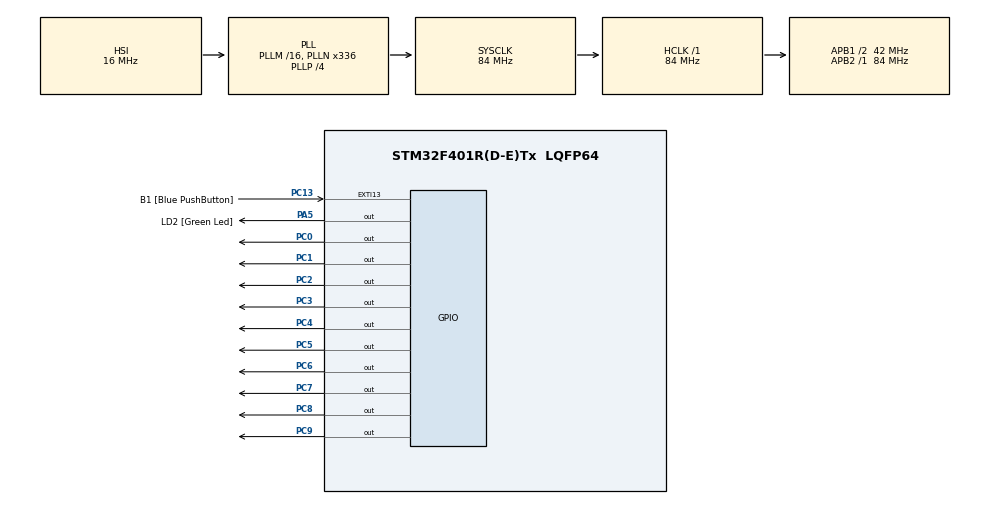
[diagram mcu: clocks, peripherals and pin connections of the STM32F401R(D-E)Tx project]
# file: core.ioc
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Mcu.Family=STM32F4
Mcu.Name=STM32F401R(D-E)Tx
Mcu.Package=LQFP64
NVIC.PriorityGroup=NVIC_PRIORITYGROUP_4
PA13.GPIO_Label=TMS
PA13.Mode=Trace_Asynchronous_SW
PA13.Signal=SYS_JTMS-SWDIO
PA14.GPIO_Label=TCK
PA14.Mode=Trace_Asynchronous_SW
PA14.Signal=SYS_JTCK-SWCLK
PA5.GPIO_Label=LD2 [Green Led]
PA5.GPIO_Mode=GPIO_MODE_OUTPUT_PP
PA5.GPIO_PuPd=GPIO_NOPULL
PA5.GPIO_Speed=GPIO_SPEED_FREQ_LOW
PA5.Signal=GPIO_Output
PB3.GPIO_Label=SWO
PB3.Mode=Trace_Asynchronous_SW
PB3.Signal=SYS_JTDO-SWO
PC0.Signal=GPIO_Output
PC1.Signal=GPIO_Output
PC13-ANTI_TAMP.GPIO_Label=B1 [Blue PushButton]
PC13-ANTI_TAMP.GPIO_ModeDefaultEXTI=GPIO_MODE_IT_FALLING
PC13-ANTI_TAMP.GPIO_PuPd=GPIO_NOPULL
PC13-ANTI_TAMP.Signal=GPXTI13
PC14-OSC32_IN.Mode=LSE-External-Oscillator
PC14-OSC32_IN.Signal=RCC_OSC32_IN
PC15-OSC32_OUT.Mode=LSE-External-Oscillator
PC15-OSC32_OUT.Signal=RCC_OSC32_OUT
PC2.Signal=GPIO_Output
PC3.Signal=GPIO_Output
PC4.Signal=GPIO_Output
PC5.Signal=GPIO_Output
PC6.Signal=GPIO_Output
PC7.Signal=GPIO_Output
PC8.Signal=GPIO_Output
PC9.Signal=GPIO_Output
PH0\ -\ OSC_IN.Mode=HSE-External-Clock-Source
PH0\ -\ OSC_IN.Signal=RCC_OSC_IN
PH1\ -\ OSC_OUT.Mode=HSE-External-Clock-Source
PH1\ -\ OSC_OUT.Signal=RCC_OSC_OUT
ProjectManager.HeapSize=0x200
ProjectManager.StackSize=0x400
ProjectManager.TargetToolchain=MDK-ARM V5.32
RCC.48MHZClocksFreq_Value=48000000
RCC.AHBFreq_Value=84000000
RCC.APB1CLKDivider=RCC_HCLK_DIV2
RCC.APB1Freq_Value=42000000
RCC.APB1TimFreq_Value=84000000
RCC.APB2Freq_Value=84000000
RCC.APB2TimFreq_Value=84000000
RCC.CortexFreq_Value=84000000
RCC.HCLKFreq_Value=84000000
RCC.HSE_VALUE=8000000
RCC.HSI_VALUE=16000000
RCC.PLLN=336
RCC.PLLP=RCC_PLLP_DIV4
RCC.PLLQ=7
RCC.SYSCLKFreq_VALUE=84000000
RCC.SYSCLKSource=RCC_SYSCLKSOURCE_PLLCLK
RCC.VCOOutputFreq_Value=336000000
board=NUCLEO-F401RE

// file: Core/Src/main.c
/* USER CODE BEGIN Header */
/**
  ******************************************************************************
  * @file           : main.c
  * @brief          : Main program body
  ******************************************************************************
  * @attention
  *
  * Copyright (c) 2026 STMicroelectronics.
  * All rights reserved.
  *
  * This software is licensed under terms that can be found in the LICENSE file
  * in the root directory of this software component.
  * If no LICENSE file comes with this software, it is provided AS-IS.
  *
  ******************************************************************************
  */
/* USER CODE END Header */
#include "main.h"

/* USER CODE BEGIN PV */
typedef enum{
	left = 0,
	right = 1,
} direction;

typedef enum{
	data = 0,
	instruction = 1,
}mode;
/* USER CODE END PV */

void SystemClock_Config(void);
static void MX_GPIO_Init(void);
/* USER CODE BEGIN PFP */
//LCD main functions
void clearScreen(void);
void turnScreenOn(void);
void showData(void);
void putData(uint8_t);
void LCD_init(void);
void writeComOrData(uint8_t);
/* USER CODE END PFP */

int main(void)
{

  /* MCU Configuration--------------------------------------------------------*/

  /* Reset of all peripherals, Initializes the Flash interface and the Systick. */
  HAL_Init();

  /* Configure the system clock */
  SystemClock_Config();

  /* Initialize all configured peripherals */
  MX_GPIO_Init();
  /* USER CODE BEGIN 2 */
	LCD_init();
	turnScreenOn();
	putData(0x48);
	showData();
	putData(0x65);
	showData();
	putData(0x6C);
	showData();
	putData(0x6C);
	showData();
	putData(0x6F);
	showData();
	HAL_Delay(500);
	clearScreen();
  /* USER CODE END 2 */

  /* Infinite loop */
  while (1)
  {

  }
}

void SystemClock_Config(void)
{
  RCC_OscInitTypeDef RCC_OscInitStruct = {0};
  RCC_ClkInitTypeDef RCC_ClkInitStruct = {0};

  /** Configure the main internal regulator output voltage
  */
  __HAL_RCC_PWR_CLK_ENABLE();
  __HAL_PWR_VOLTAGESCALING_CONFIG(PWR_REGULATOR_VOLTAGE_SCALE2);

  /** Initializes the RCC Oscillators according to the specified parameters
  * in the RCC_OscInitTypeDef structure.
  */
  RCC_OscInitStruct.OscillatorType = RCC_OSCILLATORTYPE_HSI;
  RCC_OscInitStruct.HSIState = RCC_HSI_ON;
  RCC_OscInitStruct.HSICalibrationValue = RCC_HSICALIBRATION_DEFAULT;
  RCC_OscInitStruct.PLL.PLLState = RCC_PLL_ON;
  RCC_OscInitStruct.PLL.PLLSource = RCC_PLLSOURCE_HSI;
  RCC_OscInitStruct.PLL.PLLM = 16;
  RCC_OscInitStruct.PLL.PLLN = 336;
  RCC_OscInitStruct.PLL.PLLP = RCC_PLLP_DIV4;
  RCC_OscInitStruct.PLL.PLLQ = 7;
  if (HAL_RCC_OscConfig(&RCC_OscInitStruct) != HAL_OK)
  {
    Error_Handler();
  }

  /** Initializes the CPU, AHB and APB buses clocks
  */
  RCC_ClkInitStruct.ClockType = RCC_CLOCKTYPE_HCLK|RCC_CLOCKTYPE_SYSCLK
                              |RCC_CLOCKTYPE_PCLK1|RCC_CLOCKTYPE_PCLK2;
  RCC_ClkInitStruct.SYSCLKSource = RCC_SYSCLKSOURCE_PLLCLK;
  RCC_ClkInitStruct.AHBCLKDivider = RCC_SYSCLK_DIV1;
  RCC_ClkInitStruct.APB1CLKDivider = RCC_HCLK_DIV2;
  RCC_ClkInitStruct.APB2CLKDivider = RCC_HCLK_DIV1;

  if (HAL_RCC_ClockConfig(&RCC_ClkInitStruct, FLASH_LATENCY_2) != HAL_OK)
  {
    Error_Handler();
  }
}

static void MX_GPIO_Init(void)
{
  GPIO_InitTypeDef GPIO_InitStruct = {0};

  /* GPIO Ports Clock Enable */
  __HAL_RCC_GPIOC_CLK_ENABLE();
  __HAL_RCC_GPIOH_CLK_ENABLE();
  __HAL_RCC_GPIOA_CLK_ENABLE();
  __HAL_RCC_GPIOB_CLK_ENABLE();

  /*Configure GPIO pin Output Level */
  HAL_GPIO_WritePin(GPIOC, GPIO_PIN_0|GPIO_PIN_1|GPIO_PIN_2|GPIO_PIN_3
                          |GPIO_PIN_4|GPIO_PIN_5|GPIO_PIN_6|GPIO_PIN_7
                          |GPIO_PIN_8|GPIO_PIN_9, GPIO_PIN_RESET);

  /*Configure GPIO pin Output Level */
  HAL_GPIO_WritePin(LD2_GPIO_Port, LD2_Pin, GPIO_PIN_RESET);

  /*Configure GPIO pin : B1_Pin */
  GPIO_InitStruct.Pin = B1_Pin;
  GPIO_InitStruct.Mode = GPIO_MODE_IT_FALLING;
  GPIO_InitStruct.Pull = GPIO_NOPULL;
  HAL_GPIO_Init(B1_GPIO_Port, &GPIO_InitStruct);

  /*Configure GPIO pins : PC0 PC1 PC2 PC3
                           PC4 PC5 PC6 PC7
                           PC8 PC9 */
  GPIO_InitStruct.Pin = GPIO_PIN_0|GPIO_PIN_1|GPIO_PIN_2|GPIO_PIN_3
                          |GPIO_PIN_4|GPIO_PIN_5|GPIO_PIN_6|GPIO_PIN_7
                          |GPIO_PIN_8|GPIO_PIN_9;
  GPIO_InitStruct.Mode = GPIO_MODE_OUTPUT_PP;
  GPIO_InitStruct.Pull = GPIO_NOPULL;
  GPIO_InitStruct.Speed = GPIO_SPEED_FREQ_LOW;
  HAL_GPIO_Init(GPIOC, &GPIO_InitStruct);

  /*Configure GPIO pin : LD2_Pin */
  GPIO_InitStruct.Pin = LD2_Pin;
  GPIO_InitStruct.Mode = GPIO_MODE_OUTPUT_PP;
  GPIO_InitStruct.Pull = GPIO_NOPULL;
  GPIO_InitStruct.Speed = GPIO_SPEED_FREQ_LOW;
  HAL_GPIO_Init(LD2_GPIO_Port, &GPIO_InitStruct);

}

/* USER CODE BEGIN 4 */
void clearScreen(){
	uint8_t command = 0x01;
	HAL_GPIO_WritePin(GPIOC,GPIO_PIN_0,GPIO_PIN_RESET);
	HAL_Delay(1);
	writeComOrData(command);
	HAL_Delay(1);
	HAL_GPIO_WritePin(GPIOC,GPIO_PIN_1, GPIO_PIN_SET);
	HAL_Delay(1);
	HAL_GPIO_WritePin(GPIOC,GPIO_PIN_1,GPIO_PIN_RESET);
}

void writeComOrData(uint8_t comOrData){
	HAL_GPIO_WritePin(GPIOC,GPIO_PIN_2 ,
	(comOrData & (0x01<<0))? GPIO_PIN_SET: GPIO_PIN_RESET);

	HAL_GPIO_WritePin(GPIOC,GPIO_PIN_3 ,
	(comOrData & (0x01<<1))? GPIO_PIN_SET: GPIO_PIN_RESET);

	HAL_GPIO_WritePin(GPIOC,GPIO_PIN_4 ,
	(comOrData & (0x01<<2))? GPIO_PIN_SET: GPIO_PIN_RESET);

	HAL_GPIO_WritePin(GPIOC,GPIO_PIN_5 ,
	(comOrData & (0x01<<3))? GPIO_PIN_SET: GPIO_PIN_RESET);

	HAL_GPIO_WritePin(GPIOC,GPIO_PIN_6 ,
	(comOrData & (0x01<<4))? GPIO_PIN_SET: GPIO_PIN_RESET);

	HAL_GPIO_WritePin(GPIOC,GPIO_PIN_7 ,
	(comOrData & (0x01<<5))? GPIO_PIN_SET: GPIO_PIN_RESET);

	HAL_GPIO_WritePin(GPIOC,GPIO_PIN_8 ,
	(comOrData & (0x01<<6))? GPIO_PIN_SET: GPIO_PIN_RESET);

	HAL_GPIO_WritePin(GPIOC,GPIO_PIN_9 ,
	(comOrData & (0x01<<7))? GPIO_PIN_SET: GPIO_PIN_RESET);
	HAL_Delay(1);
}

void LCD_Command(uint8_t cmd)
{
    HAL_GPIO_WritePin(GPIOC, GPIO_PIN_0, GPIO_PIN_RESET); // RS=0
    writeComOrData(cmd);

    HAL_GPIO_WritePin(GPIOC, GPIO_PIN_1, GPIO_PIN_SET);
    HAL_Delay(1);
    HAL_GPIO_WritePin(GPIOC, GPIO_PIN_1, GPIO_PIN_RESET);

    HAL_Delay(2);
}

void LCD_init(){
    HAL_Delay(5);
    LCD_Command(0x38);
    LCD_Command(0x0C);
    LCD_Command(0x01);
    LCD_Command(0x06);
}

void turnScreenOn(){
	HAL_GPIO_WritePin(GPIOC,GPIO_PIN_0,GPIO_PIN_SET);
	HAL_Delay(1);
	writeComOrData(0x0E);
	HAL_GPIO_WritePin(GPIOC,GPIO_PIN_1, GPIO_PIN_SET);
	HAL_Delay(2);
	HAL_GPIO_WritePin(GPIOC,GPIO_PIN_1, GPIO_PIN_RESET);
}

void showData(){
	HAL_GPIO_WritePin(GPIOC,GPIO_PIN_0,GPIO_PIN_RESET);
	writeComOrData(0x38);
	HAL_GPIO_WritePin(GPIOC,GPIO_PIN_1, GPIO_PIN_SET);
	HAL_Delay(2);
	HAL_GPIO_WritePin(GPIOC,GPIO_PIN_1, GPIO_PIN_RESET);
}

void putData(uint8_t newChar){
	HAL_GPIO_WritePin(GPIOC,GPIO_PIN_0,GPIO_PIN_SET);
	HAL_Delay(1);
	writeComOrData(newChar);
	HAL_GPIO_WritePin(GPIOC,GPIO_PIN_1, GPIO_PIN_SET);
	HAL_Delay(2);
	HAL_GPIO_WritePin(GPIOC,GPIO_PIN_1, GPIO_PIN_RESET);
}
/* USER CODE END 4 */

void Error_Handler(void)
{
  __disable_irq();
  while (1)
  {
  }
}
